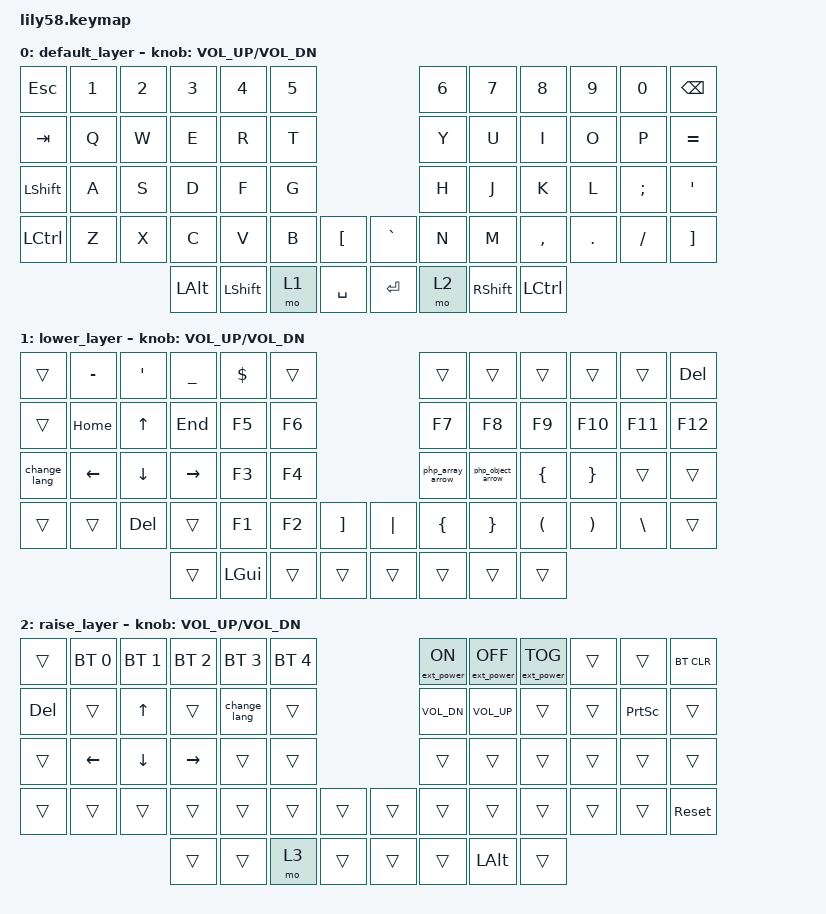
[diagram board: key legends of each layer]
/*
 * Copyright (c) 2020 The ZMK Contributors
 *
 * SPDX-License-Identifier: MIT
 */

#include <behaviors.dtsi>
#include <dt-bindings/zmk/keys.h>
#include <dt-bindings/zmk/bt.h>
#include <dt-bindings/zmk/ext_power.h>


/ {

    chosen {
     zmk,battery = &vbatt;
    };  

    vbatt: vbatt {
        compatible = "zmk,battery-nrf-vddh";
        label = "VBATT"; 
    };
  
    macros {
        php_array_arrow: php_array_arrow {
            compatible = "zmk,behavior-macro";
            #binding-cells = <0>;
            bindings
                = <&macro_tap &kp EQUAL &kp GREATER_THAN>
                ;
        };

        php_object_arrow: php_object_arrow {
            compatible = "zmk,behavior-macro";
            #binding-cells = <0>;
            bindings
                = <&macro_tap &kp MINUS &kp GREATER_THAN>
                ;
        };

        change_lang: change_lang {
            compatible = "zmk,behavior-macro";
            #binding-cells = <0>;
            bindings
                = <&macro_press &kp LSHFT>
                , <&macro_press &kp LALT>
                , <&macro_release &kp LSHFT>
                , <&macro_release &kp LALT>
                ;
        };
    };
    
    keymap {
        compatible = "zmk,keymap";

        default_layer {
// ------------------------------------------------------------------------------------------------------------
// |  ESC  |  1  |  2  |  3   |  4   |  5   |                   |  6   |  7    |  8    |  9   |   0   |  BSPC |
// |  TAB  |  Q  |  W  |  E   |  R   |  T   |                   |  Y   |  U    |  I    |  O   |   P   |   =   |
// | SHIFT |  A  |  S  |  D   |  F   |  G   |                   |  H   |  J    |  K    |  L   |   ;   |   '   |
// |  CTRL |  Z  |  X  |  C   |  V   |  B   |   "["  |  |   `   |  N   |  M    |  ,    |  .   |   /   |  "]"  |
//                     | LALT | SHFT | LOWER|  SPACE |  | ENTER | RAISE| SHIFT | LCTRL |
            bindings = <
&kp ESC   &kp N1 &kp N2 &kp N3   &kp N4     &kp N5                       &kp N6 &kp N7    &kp N8    &kp N9  &kp N0   &kp BSPC
&kp TAB   &kp Q  &kp W  &kp E    &kp R      &kp T                        &kp Y  &kp U     &kp I     &kp O   &kp P    &kp EQUAL
&kp LSHFT &kp A  &kp S  &kp D    &kp F      &kp G                        &kp H  &kp J     &kp K     &kp L   &kp SEMI &kp SQT
&kp LCTRL &kp Z  &kp X  &kp C    &kp V      &kp B  &kp LBKT   &kp GRAVE  &kp N  &kp M     &kp COMMA &kp DOT &kp FSLH &kp RBKT
                        &kp LALT &kp LSHFT  &mo 1  &kp SPACE  &kp RET    &mo 2  &kp RSHFT &kp LCTRL
            >;

            sensor-bindings = <&inc_dec_kp C_VOL_UP C_VOL_DN>;
        }; 

        lower_layer {
// ------------------------------------------------------------------------------------------------------------
// ┏━━━━━━━━━━━┏━━━━━━━━━━━┳━━━━━━━━━━━┳━━━━━━━━━━━┳━━━━━━━━━━━┳━━━━━━━━━━━┓                              ┏━━━━━━━━━━━┳━━━━━━━━━━━┳━━━━━━━━━━━┳━━━━━━━━━━━┳━━━━━━━━━━━┳━━━━━━━━━━━┓
// ┃           ┃     -     ┃     '     ┃     _     ┃   DOLLAR  ┃           ┃                              ┃           ┃           ┃           ┃           ┃           ┃           ┃ 
// ┣━━━━━━━━━━━┣━━━━━━━━━━━╋━━━━━━━━━━━╋━━━━━━━━━━━╋━━━━━━━━━━━╋━━━━━━━━━━━┫                              ┣━━━━━━━━━━━╋━━━━━━━━━━━╋━━━━━━━━━━━╋━━━━━━━━━━━╋━━━━━━━━━━━╋━━━━━━━━━━━┫
// ┃           ┃    HOME   ┃    UP     ┃     END   ┃    F5     ┃    F6     ┃                              ┃      F7   ┃      F8   ┃      F9   ┃    F10    ┃    F11    ┃    F12    ┃
// ┣━━━━━━━━━━━╋━━━━━━━━━━━╋━━━━━━━━━━━╋━━━━━━━━━━━╋━━━━━━━━━━━╋━━━━━━━━━━━┫                              ┣━━━━━━━━━━━╋━━━━━━━━━━━╋━━━━━━━━━━━╋━━━━━━━━━━━╋━━━━━━━━━━━╋━━━━━━━━━━━┫
// ┃change_lang┃   LEFT    ┃   DOWN    ┃   RIGHT   ┃    F3     ┃    F4     ┃                              ┃  p_a_ar   ┃  p_o_a    ┃     {     ┃     }     ┃           ┃           ┃
// ┣━━━━━━━━━━━╋━━━━━━━━━━━╋━━━━━━━━━━━╋━━━━━━━━━━━╋━━━━━━━━━━━╋━━━━━━━━━━━╋━━━━━━━━━━━┓      ┏━━━━━━━━━━━┫━━━━━━━━━━━╋━━━━━━━━━━━╋━━━━━━━━━━━╋━━━━━━━━━━━╋━━━━━━━━━━━╋━━━━━━━━━━━┫
// ┃           ┃           ┃    DEL    ┃           ┃    F1     ┃    F2     ┃    "]"    ┃      ┃    "|"    ┃     {     ┃     }     ┃     (     ┃     )     ┃     \     ┃           ┃
// ┗━━━━━━━━━━━┻━━━━━━━━━━━┻━━━━━━━━━━━╋━━━━━━━━━━━╋━━━━━━━━━━━╋━━━━━━━━━━━╋━━━━━━━━━━━┫      ┣━━━━━━━━━━━╋━━━━━━━━━━━╋━━━━━━━━━━━╋━━━━━━━━━━━╋━━━━━━━━━━━┻━━━━━━━━━━━┻━━━━━━━━━━━┛
//                                     ┃           ┃    GUI    ┃           ┃           ┃      ┃           ┃           ┃           ┃           ┃      
//                                     ┗━━━━━━━━━━━┻━━━━━━━━━━━┻━━━━━━━━━━━┻━━━━━━━━━━━┛      ┗━━━━━━━━━━━┻━━━━━━━━━━━┻━━━━━━━━━━━┻━━━━━━━━━━━┛
            bindings = <
&trans        &kp MINUS            &kp SINGLE_QUOTE  &kp UNDER         &kp DOLLAR     &trans                         &trans               &trans               &trans               &trans    &trans    &kp DEL
&trans        &kp HOME             &kp UP            &kp END           &kp F5         &kp F6                         &kp F7               &kp F8               &kp F9               &kp F10   &kp F11   &kp F12
&change_lang  &kp LEFT             &kp DOWN          &kp RIGHT         &kp F3         &kp F4                         &php_array_arrow     &php_object_arrow    &kp LBRC             &kp RBRC  &trans    &trans
&trans        &trans               &kp DEL           &trans            &kp F1         &kp F2     &kp RBKT  &kp PIPE  &kp LBRC             &kp RBRC             &kp LPAR             &kp RPAR  &kp BSLH  &trans
                                                     &trans            &kp LGUI       &trans     &trans    &trans    &trans               &trans               &trans
            >;

            sensor-bindings = <&inc_dec_kp C_VOL_UP C_VOL_DN>;
        };

        raise_layer {
// ------------------------------------------------------------------------------------------------------------
// ┏━━━━━━━━━━━┏━━━━━━━━━━━┳━━━━━━━━━━━┳━━━━━━━━━━━┳━━━━━━━━━━━┳━━━━━━━━━━━┓                              ┏━━━━━━━━━━━┳━━━━━━━━━━━┳━━━━━━━━━━━┳━━━━━━━━━━━┳━━━━━━━━━━━┳━━━━━━━━━━━┓
// ┃           ┃     BT1   ┃    BT2    ┃     BT3   ┃    BT4    ┃     BT5   ┃                              ┃           ┃           ┃           ┃           ┃           ┃  BT_CLR   ┃ 
// ┣━━━━━━━━━━━┣━━━━━━━━━━━╋━━━━━━━━━━━╋━━━━━━━━━━━╋━━━━━━━━━━━╋━━━━━━━━━━━┫                              ┣━━━━━━━━━━━╋━━━━━━━━━━━╋━━━━━━━━━━━╋━━━━━━━━━━━╋━━━━━━━━━━━╋━━━━━━━━━━━┫
// ┃    DEL    ┃           ┃    UP     ┃           ┃           ┃           ┃                              ┃  VOL_DN   ┃   VOL_UP  ┃           ┃           ┃   PSCRN   ┃           ┃
// ┣━━━━━━━━━━━╋━━━━━━━━━━━╋━━━━━━━━━━━╋━━━━━━━━━━━╋━━━━━━━━━━━╋━━━━━━━━━━━┫                              ┣━━━━━━━━━━━╋━━━━━━━━━━━╋━━━━━━━━━━━╋━━━━━━━━━━━╋━━━━━━━━━━━╋━━━━━━━━━━━┫
// ┃           ┃    LEFT   ┃   DOWN    ┃   RIGHT   ┃           ┃           ┃                              ┃           ┃           ┃           ┃           ┃           ┃           ┃           
// ┣━━━━━━━━━━━╋━━━━━━━━━━━╋━━━━━━━━━━━╋━━━━━━━━━━━╋━━━━━━━━━━━╋━━━━━━━━━━━╋━━━━━━━━━━━┓      ┏━━━━━━━━━━━┫━━━━━━━━━━━╋━━━━━━━━━━━╋━━━━━━━━━━━╋━━━━━━━━━━━╋━━━━━━━━━━━╋━━━━━━━━━━━┫
// ┃           ┃           ┃           ┃           ┃           ┃           ┃           ┃      ┃           ┃           ┃           ┃           ┃           ┃           ┃ sys_reset ┃
// ┗━━━━━━━━━━━┻━━━━━━━━━━━┻━━━━━━━━━━━╋━━━━━━━━━━━╋━━━━━━━━━━━╋━━━━━━━━━━━╋━━━━━━━━━━━┫      ┣━━━━━━━━━━━╋━━━━━━━━━━━╋━━━━━━━━━━━╋━━━━━━━━━━━╋━━━━━━━━━━━┻━━━━━━━━━━━┻━━━━━━━━━━━┛
//                                     ┃           ┃           ┃           ┃           ┃      ┃           ┃           ┃    LALT   ┃           ┃      
//                                     ┗━━━━━━━━━━━┻━━━━━━━━━━━┻━━━━━━━━━━━┻━━━━━━━━━━━┛      ┗━━━━━━━━━━━┻━━━━━━━━━━━┻━━━━━━━━━━━┻━━━━━━━━━━━┛
            bindings = <
&trans      &bt BT_SEL 0  &bt BT_SEL 1    &bt BT_SEL 2      &bt BT_SEL 3    &bt BT_SEL 4                  &ext_power EP_ON     &ext_power EP_OFF    &ext_power EP_TOG    &trans            &trans           &bt BT_CLR           
&kp DEL     &trans        &kp UP          &trans            &change_lang    &trans                        &kp C_VOL_DN         &kp C_VOL_UP         &trans               &trans            &kp PSCRN        &trans
&trans      &kp LEFT      &kp DOWN        &kp RIGHT         &trans          &trans                        &trans               &trans               &trans               &trans            &trans           &trans
&trans      &trans        &trans          &trans            &trans          &trans   &trans    &trans     &trans               &trans               &trans               &trans            &trans           &sys_reset
                                          &trans            &trans          &mo 3    &trans    &trans     &trans               &kp LALT             &trans
            >;

            sensor-bindings = <&inc_dec_kp C_VOL_UP C_VOL_DN>;
        };
    };
};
